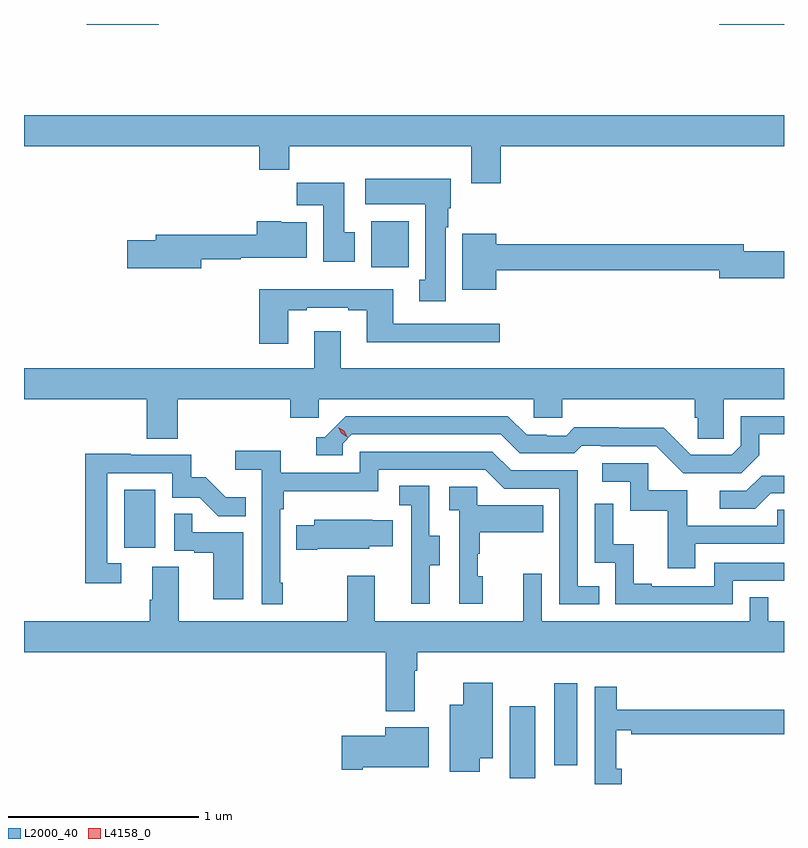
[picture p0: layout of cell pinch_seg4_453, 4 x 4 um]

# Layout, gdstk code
import gdstk
lib = gdstk.Library(unit=1e-6, precision=1e-09)
def R(c, l, rs):  # rectangles x0, y0, x1, y1
    for r in rs: c.add(gdstk.rectangle(r[:2], r[2:], *l))
def P(c, l, *ps):  # polygons
    for p in ps: c.add(gdstk.Polygon(p, *l))
L2000_40 = (2000, 40)
L4158_0 = (4158, 0)

pinch_seg4_453 = lib.new_cell('pinch_seg4_453')
R(pinch_seg4_453, L2000_40, [(947.234,781.504,947.368,781.885), (947.468,781.575,947.59,782.005), (945.206,782.718,945.37,783.025), (946.505,784.196,946.702,784.438), (945.008,785.47,945.388,785.475), (948.338,785.47,948.678,785.475)])
P(pinch_seg4_453, L2000_40, [(947.186,784.832),(948.678,784.832),(948.678,784.996),(944.678,784.996),(944.678,784.832),(945.917,784.832),(945.917,784.708),(946.073,784.708),(946.073,784.832),(947.033,784.832),(947.033,784.638),(947.186,784.638)],
  [(946.897,784.406),(946.912,784.406),(946.912,784.506),(946.924,784.506),(946.924,784.66),(946.473,784.66),(946.473,784.526),(946.79,784.526),(946.79,784.13),(946.757,784.13),(946.757,784.017),(946.897,784.017)],
  [(946.42,784.38),(946.363,784.38),(946.363,784.639),(946.114,784.639),(946.114,784.52),(946.253,784.52),(946.253,784.224),(946.42,784.224)],
  [(945.61,784.237),(945.818,784.237),(945.818,784.244),(946.165,784.244),(946.165,784.432),(946.032,784.432),(946.032,784.438),(945.902,784.438),(945.902,784.366),(945.371,784.366),(945.371,784.337),(945.222,784.337),(945.222,784.19),(945.61,784.19)],
  [(947.164,784.18),(948.338,784.18),(948.338,784.138),(948.678,784.138),(948.678,784.28),(948.466,784.28),(948.466,784.316),(947.164,784.316),(947.164,784.372),(946.985,784.372),(946.985,784.076),(947.164,784.076)],
  [(946.069,783.969),(946.165,783.969),(946.165,783.981),(946.385,783.981),(946.385,783.969),(946.481,783.969),(946.481,783.8),(947.182,783.8),(947.182,783.897),(946.621,783.897),(946.621,784.078),(945.917,784.078),(945.917,783.792),(946.069,783.792)],
  [(945.488,783.5),(946.079,783.5),(946.079,783.402),(946.23,783.402),(946.23,783.5),(947.361,783.5),(947.361,783.402),(947.511,783.402),(947.511,783.5),(948.209,783.5),(948.209,783.402),(948.223,783.402),(948.223,783.292),(948.36,783.292),(948.36,783.5),(948.678,783.5),(948.678,783.664),(946.345,783.664),(946.345,783.859),(946.205,783.859),(946.205,783.664),(944.678,783.664),(944.678,783.5),(945.323,783.5),(945.323,783.292),(945.488,783.292)],
  [(948.547,783.205),(948.547,783.315),(948.678,783.315),(948.678,783.411),(948.45,783.411),(948.45,783.255),(948.402,783.207),(948.186,783.207),(948.044,783.349),(947.808,783.349),(947.808,783.352),(947.575,783.352),(947.533,783.309),(947.43,783.309),(947.43,783.312),(947.323,783.312),(947.224,783.411),(946.371,783.411),(946.26,783.3),(946.217,783.3),(946.217,783.204),(946.356,783.204),(946.356,783.267),(946.404,783.315),(947.187,783.315),(947.286,783.216),(947.575,783.216),(947.614,783.255),(947.713,783.255),(947.713,783.252),(948.006,783.252),(948.147,783.111),(948.453,783.111)],
  [(946.039,782.533),(946.026,782.533),(946.026,782.921),(946.046,782.921),(946.046,783.017),(946.542,783.017),(946.542,783.129),(947.106,783.129),(947.205,783.03),(947.496,783.03),(947.496,782.421),(947.705,782.421),(947.705,782.517),(947.592,782.517),(947.592,783.126),(947.242,783.126),(947.143,783.225),(946.446,783.225),(946.446,783.114),(946.028,783.114),(946.028,783.23),(945.789,783.23),(945.789,783.128),(945.93,783.128),(945.93,782.421),(946.039,782.421)],
  [(945.19,782.637),(945.117,782.637),(945.117,783.111),(945.459,783.111),(945.459,782.982),(945.603,782.982),(945.701,782.884),(945.845,782.884),(945.845,782.983),(945.741,782.983),(945.634,783.09),(945.558,783.09),(945.558,783.207),(945.239,783.207),(945.239,783.212),(945.001,783.212),(945.001,782.532),(945.19,782.532)],
  [(948.211,782.739),(948.678,782.739),(948.678,782.919),(948.643,782.919),(948.643,782.835),(948.169,782.835),(948.169,783.021),(947.964,783.021),(947.964,783.162),(947.721,783.162),(947.721,783.066),(947.868,783.066),(947.868,782.913),(948.067,782.913),(948.067,782.61),(948.211,782.61)],
  [(948.607,783.006),(948.678,783.006),(948.678,783.098),(948.56,783.098),(948.48,783.018),(948.339,783.018),(948.339,782.925),(948.526,782.925)],
  [(946.813,782.626),(946.867,782.626),(946.867,782.781),(946.812,782.781),(946.812,783.044),(946.653,783.044),(946.653,782.941),(946.716,782.941),(946.716,782.637),(946.715,782.637),(946.715,782.424),(946.813,782.424)],
  [(947.092,782.568),(947.067,782.568),(947.067,782.687),(947.077,782.687),(947.077,782.801),(947.411,782.801),(947.411,782.941),(947.064,782.941),(947.064,783.039),(946.917,783.039),(946.917,782.915),(946.968,782.915),(946.968,782.424),(947.092,782.424)],
  [(948.408,782.544),(948.678,782.544),(948.678,782.64),(948.312,782.64),(948.312,782.517),(947.983,782.517),(947.983,782.53),(947.888,782.53),(947.888,782.738),(947.778,782.738),(947.778,782.95),(947.682,782.95),(947.682,782.64),(947.79,782.64),(947.79,782.421),(948.408,782.421)],
  [(945.832,782.799),(945.563,782.799),(945.563,782.897),(945.468,782.897),(945.468,782.703),(945.575,782.703),(945.575,782.691),(945.674,782.691),(945.674,782.448),(945.832,782.448)],
  [(946.222,782.714),(946.494,782.714),(946.494,782.726),(946.619,782.726),(946.619,782.863),(946.511,782.863),(946.511,782.866),(946.205,782.866),(946.205,782.836),(946.111,782.836),(946.111,782.707),(946.222,782.707)],
  [(946.378,782.572),(946.378,782.332),(945.493,782.332),(945.493,782.618),(945.353,782.618),(945.353,782.444),(945.341,782.444),(945.341,782.332),(944.678,782.332),(944.678,782.168),(946.583,782.168),(946.583,781.859),(946.735,781.859),(946.735,782.072),(946.748,782.072),(946.748,782.168),(948.678,782.168),(948.678,782.332),(948.594,782.332),(948.594,782.459),(948.498,782.459),(948.498,782.332),(947.403,782.332),(947.403,782.581),(947.306,782.581),(947.306,782.332),(946.525,782.332),(946.525,782.572)],
  [(947.077,781.61),(947.146,781.61),(947.146,782.008),(946.991,782.008),(946.991,781.891),(946.919,781.891),(946.919,781.539),(947.077,781.539)],
  [(947.825,781.555),(947.794,781.555),(947.794,781.757),(947.875,781.757),(947.875,781.738),(948.678,781.738),(948.678,781.867),(947.798,781.867),(947.798,781.987),(947.682,781.987),(947.682,781.475),(947.825,781.475)],
  [(946.462,781.562),(946.807,781.562),(946.807,781.774),(946.58,781.774),(946.58,781.728),(946.35,781.728),(946.35,781.55),(946.462,781.55)])
P(pinch_seg4_453, L4158_0, [(946.38,783.301),(946.349,783.32),(946.333,783.353),(946.333,783.353),(946.333,783.353),(946.364,783.334),(946.38,783.302),(946.38,783.301)])

lib.write_gds('pinch_seg4_453.gds')
